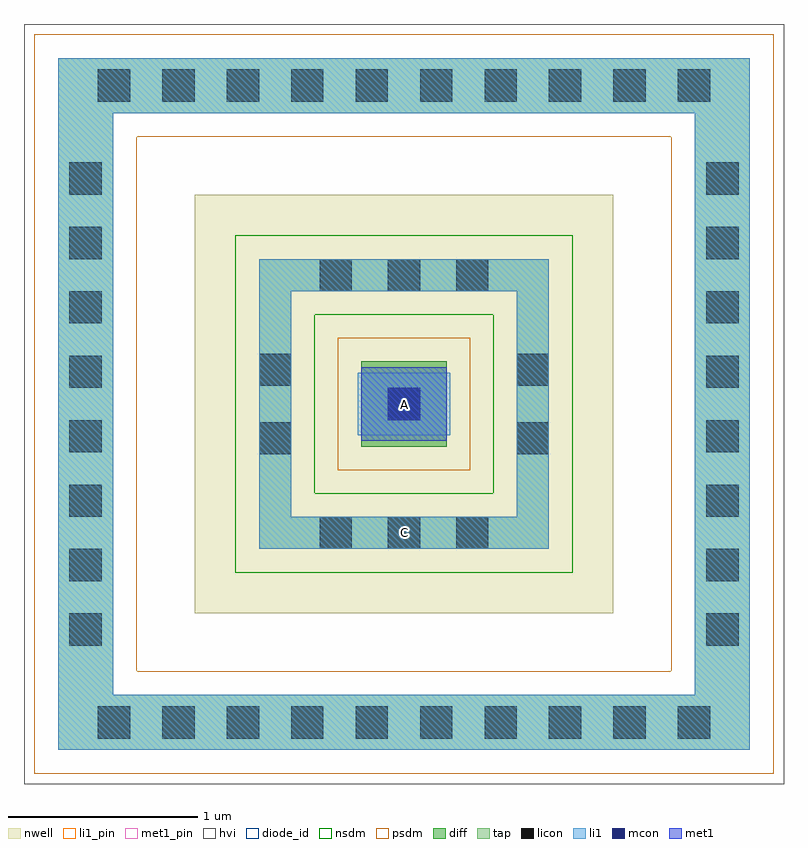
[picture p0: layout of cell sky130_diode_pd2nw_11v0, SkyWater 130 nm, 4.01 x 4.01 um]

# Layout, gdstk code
import gdstk
lib = gdstk.Library(unit=1e-6, precision=1e-09)
def R(c, l, rs):  # rectangles x0, y0, x1, y1
    for r in rs: c.add(gdstk.rectangle(r[:2], r[2:], *l))
def A(c, l, x, y, w, h, nx, ny, dx, dy):  # array of equal rectangles
    R(c, l, [(x+i*dx, y+j*dy, x+i*dx+w, y+j*dy+h) for i in range(nx) for j in range(ny)])
def P(c, l, *ps):  # polygons
    for p in ps: c.add(gdstk.Polygon(p, *l))
nwell = (64, 20)
diff = (65, 20)
tap = (65, 44)
licon = (66, 44)
li1_pin = (67, 16)
li1 = (67, 20)
mcon = (67, 44)
met1_pin = (68, 16)
met1 = (68, 20)
hvi = (75, 20)
diode_id = (81, 23)
nsdm = (93, 44)
psdm = (94, 20)

sky130_diode_pd2nw_11v0 = lib.new_cell('sky130_diode_pd2nw_11v0')
R(sky130_diode_pd2nw_11v0, nwell, [(-0.88,-0.88,1.33,1.33)])
R(sky130_diode_pd2nw_11v0, diff, [(0,0,0.45,0.45)])
P(sky130_diode_pd2nw_11v0, tap, [(-0.54,-0.54),(-0.54,0.82),(-0.37,0.82),(-0.37,-0.37),(0.82,-0.37),(0.82,0.82),(-0.54,0.82),(-0.54,0.99),(0.99,0.99),(0.99,-0.54)],
  [(-1.6,-1.6),(-1.6,1.76),(-1.31,1.76),(-1.31,-1.31),(1.76,-1.31),(1.76,1.76),(-1.6,1.76),(-1.6,2.05),(2.05,2.05),(2.05,-1.6)])
A(sky130_diode_pd2nw_11v0, licon, -1.39, -1.54, 0.17, 0.17, 10, 2, 0.34, 3.36)
A(sky130_diode_pd2nw_11v0, licon, -1.54, -1.05, 0.17, 0.17, 1, 8, 0, 0.34)
A(sky130_diode_pd2nw_11v0, licon, 1.82, -1.05, 0.17, 0.17, 1, 8, 0, 0.34)
A(sky130_diode_pd2nw_11v0, licon, -0.22, -0.54, 0.17, 0.17, 3, 2, 0.36, 1.36)
R(sky130_diode_pd2nw_11v0, licon, [(-0.54,-0.04,-0.37,0.13), (0.82,-0.04,0.99,0.13), (0.14,0.14,0.31,0.31), (-0.54,0.32,-0.37,0.49), (0.82,0.32,0.99,0.49)])
R(sky130_diode_pd2nw_11v0, li1_pin, [(0.14,-0.54,0.31,-0.37)])
R(sky130_diode_pd2nw_11v0, li1, [(-0.02,0.06,0.47,0.39)])
P(sky130_diode_pd2nw_11v0, li1, [(-0.54,-0.54),(-0.54,0.82),(-0.37,0.82),(-0.37,-0.37),(0.82,-0.37),(0.82,0.82),(-0.54,0.82),(-0.54,0.99),(0.99,0.99),(0.99,-0.54)],
  [(-1.6,-1.6),(-1.6,1.76),(-1.31,1.76),(-1.31,-1.31),(1.76,-1.31),(1.76,1.76),(-1.6,1.76),(-1.6,2.05),(2.05,2.05),(2.05,-1.6)])
R(sky130_diode_pd2nw_11v0, mcon, [(0.14,0.14,0.31,0.31)])
R(sky130_diode_pd2nw_11v0, met1_pin, [(0.14,0.14,0.31,0.31)])
R(sky130_diode_pd2nw_11v0, met1, [(0,0.03,0.45,0.42)])
R(sky130_diode_pd2nw_11v0, hvi, [(-1.78,-1.78,2.23,2.23)])
R(sky130_diode_pd2nw_11v0, diode_id, [(0,0,0.45,0.45)])
P(sky130_diode_pd2nw_11v0, nsdm, [(-0.665,-0.665),(-0.665,0.695),(-0.245,0.695),(-0.245,-0.245),(0.695,-0.245),(0.695,0.695),(-0.665,0.695),(-0.665,1.115),(1.115,1.115),(1.115,-0.665)])
R(sky130_diode_pd2nw_11v0, psdm, [(-0.125,-0.125,0.575,0.575)])
P(sky130_diode_pd2nw_11v0, psdm, [(-1.725,-1.725),(-1.725,1.635),(-1.185,1.635),(-1.185,-1.185),(1.635,-1.185),(1.635,1.635),(-1.725,1.635),(-1.725,2.175),(2.175,2.175),(2.175,-1.725)])
sky130_diode_pd2nw_11v0.add(gdstk.Label('A', (0.225,0.225), layer=68, texttype=5))
sky130_diode_pd2nw_11v0.add(gdstk.Label('C', (0.225,-0.455), layer=67, texttype=5))

lib.write_gds('sky130_diode_pd2nw_11v0.gds')
